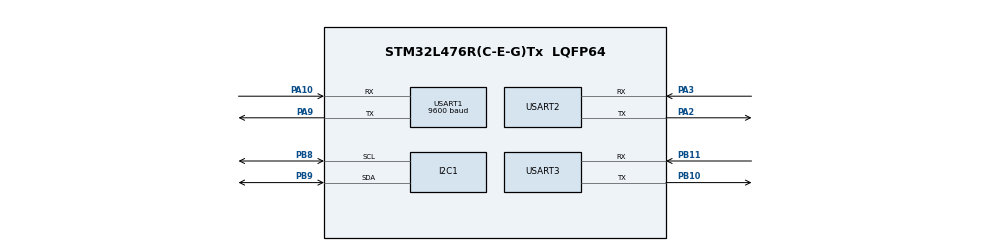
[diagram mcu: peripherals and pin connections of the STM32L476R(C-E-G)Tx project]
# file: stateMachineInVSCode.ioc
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FREERTOS.Mutexes01=uartMutex,Dynamic,NULL,Available
FREERTOS.Queues01=eventQueue,16,Event_t,0,Dynamic,NULL,NULL;transmitQueue,4,Telemetry_t*,0,Dynamic,NULL,NULL
FREERTOS.Tasks01=mainTask,24,128,StartMainTask,Default,NULL,Dynamic,NULL,NULL;housekeepTask,8,256,StartHousekeepTask,Default,NULL,Dynamic,NULL,NULL;transmitTask,8,128,StartTransmitTask,Default,NULL,Dynamic,NULL,NULL;receiveTask,8,128,StartReceiveTask,Default,NULL,Dynamic,NULL,NULL;deployTask,8,128,StartDeployTask,Default,NULL,Dynamic,NULL,NULL;detumblingTask,8,256,StartDetumblingTask,Default,NULL,Dynamic,NULL,NULL;missionTask,8,256,StartMissionTask,Default,NULL,Dynamic,NULL,NULL
FREERTOS.Timers01=HkTickTimer,vHkTickCallback,osTimerPeriodic,Default,NULL,Dynamic,NULL
FREERTOS.configTOTAL_HEAP_SIZE=8192
FREERTOS.configUSE_NEWLIB_REENTRANT=1
I2C1.Timing=0x00100D14
Mcu.Family=STM32L4
Mcu.Name=STM32L476R(C-E-G)Tx
Mcu.Package=LQFP64
NVIC.PriorityGroup=NVIC_PRIORITYGROUP_4
NVIC.TIM6_DAC_IRQn=true\:15\:0\:false\:false\:true\:false\:false\:true\:true
NVIC.TimeBase=TIM6_DAC_IRQn
NVIC.TimeBaseIP=TIM6
NVIC.USART1_IRQn=true\:5\:0\:false\:false\:true\:true\:true\:true\:true
PA10.Mode=Asynchronous
PA10.Signal=USART1_RX
PA13\ (JTMS-SWDIO).Mode=Serial_Wire
PA13\ (JTMS-SWDIO).Signal=SYS_JTMS-SWDIO
PA14\ (JTCK-SWCLK).Mode=Serial_Wire
PA14\ (JTCK-SWCLK).Signal=SYS_JTCK-SWCLK
PA2.Mode=Asynchronous
PA2.Signal=USART2_TX
PA3.Mode=Asynchronous
PA3.Signal=USART2_RX
PA9.Mode=Asynchronous
PA9.Signal=USART1_TX
PB8.Mode=I2C
PB8.Signal=I2C1_SCL
PB9.Mode=I2C
PB9.Signal=I2C1_SDA
PB10.Mode=Asynchronous
PB10.Signal=USART3_TX
PB11.Mode=Asynchronous
PB11.Signal=USART3_RX
ProjectManager.HeapSize=0x200
ProjectManager.StackSize=0x400
ProjectManager.TargetToolchain=CMake
RCC.HSE_VALUE=8000000
RCC.HSI_VALUE=16000000
RCC.LSE_VALUE=32768
RCC.MSI_VALUE=4000000
RCC.VCOOutputFreq_Value=32000000
USART1.BaudRate=9600
USART1.VirtualMode-Asynchronous=VM_ASYNC
USART2.VirtualMode-Asynchronous=VM_ASYNC
USART3.VirtualMode-Asynchronous=VM_ASYNC
VP_FREERTOS_VS_CMSIS_V2.Mode=CMSIS_V2
VP_SYS_VS_tim6.Mode=TIM6
board=custom

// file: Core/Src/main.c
/* USER CODE BEGIN Header */
/**
  ******************************************************************************
  * @file           : main.c
  * @brief          : Main program body
  ******************************************************************************
  * @attention
  *
  * Copyright (c) 2026 STMicroelectronics.
  * All rights reserved.
  *
  * This software is licensed under terms that can be found in the LICENSE file
  * in the root directory of this software component.
  * If no LICENSE file comes with this software, it is provided AS-IS.
  *
  ******************************************************************************
  */
/* USER CODE END Header */
#include "main.h"
#include "cmsis_os.h"

/* USER CODE BEGIN Includes */
#include <stdio.h>
#include <stdarg.h>
#include <stdbool.h>
#include <string.h>
#include "customTypes.h"
#include "BME280.h"
#include "DS3231.h"
#include "hermes_adsb.h"
#if MONITOR_USB
#include "monitor_usb.h"   /* bancada na PCB: functionalCodes/bancadaStateMachine/usb_monitor */
#endif
#include "payload_downlink.h"
#include "adcs_link.h"
#include "eps.h"
/* USER CODE END Includes */

/* USER CODE BEGIN PD */
#define USART1_RX_FLAG       (1U << 0)
#define USART1_ERROR_FLAG    (1U << 1)
#define USART1_ATIVIDADE_FLAG (1U << 2)   /* byte na USART1: reavalia o candidato a telecomando */
/* Telecomando do TT&C = 1 byte isolado na USART1. O TT&C (ESP32) usa a UART0 (RX0/TX0) para o OBC, e a ROM
 * do ESP32 imprime o log de boot (115200) nela a cada reset: a 9600 isso chega como uma rajada de bytes
 * aleatórios, alguns na faixa 0x00-0x0F (0x02 = Deploy). Só vira telecomando o byte com pelo menos
 * TC_SILENCIO_MS de silêncio (sem bytes nem erros) antes e depois. */
#define TC_SILENCIO_MS       30U
/* TTC_BUSY (PC0, J2-10 do barramento): o TT&C põe em alto enquanto o rádio está ocupado ou há um quadro
 * esperando o rádio. Antes de cada quadro, o OBC espera o busy baixar, por no máximo TTC_BUSY_ESPERA_MS;
 * depois disso manda assim mesmo (o TT&C guarda até 1 KB na UART). */
#define TTC_BUSY_PORT        GPIOC
#define TTC_BUSY_PIN         GPIO_PIN_0
#define TTC_BUSY_ESPERA_MS   2000U
/* Deploy das duas antenas (conector J3). CTRL_ANT_n em alto liga o MOSFET que queima o fio da antena n.
 * O fio pressiona um botão ligado ao GND (MT_n): baixo = fio inteiro; alto (pull-up interno) = fio rompeu.
 * Uma antena por vez, até o botão abrir ou DEPLOY_QUEIMA_MAX_MS. */
#define DEPLOY_QUEIMA_MAX_MS 15000U
#define DEPLOY_POLL_MS       10U
#define TASK_START_FLAG      (1U << 0)
#define TASK_STOP_FLAG       (1U << 1)

#define ENABLE_DEBUG_UART2   (!ADCS_NA_USART2)   /* na PCB a USART2 é do ADCS */
/* USER CODE END PD */

I2C_HandleTypeDef hi2c1;

UART_HandleTypeDef huart1;
UART_HandleTypeDef huart2;
UART_HandleTypeDef huart3;

/* Definitions for mainTask */
osThreadId_t mainTaskHandle;
const osThreadAttr_t mainTask_attributes = {
  .name = "mainTask",
  .stack_size = 128 * 4,
  .priority = (osPriority_t) osPriorityNormal,
};
/* Definitions for housekeepTask */
osThreadId_t housekeepTaskHandle;
const osThreadAttr_t housekeepTask_attributes = {
  .name = "housekeepTask",
  .stack_size = 256 * 4,
  .priority = (osPriority_t) osPriorityLow,
};
/* Definitions for transmitTask */
osThreadId_t transmitTaskHandle;
const osThreadAttr_t transmitTask_attributes = {
  .name = "transmitTask",
#if MONITOR_USB || ENABLE_DEBUG_UART2
  /* com debug, o debugTelemetria() formata texto (vsnprintf) nesta pilha: 512 B estourava e corrompia o TCB
   * da housekeepTask (logo abaixo na heap). No voo o debug não é compilado e a pilha fica como antes. */
  .stack_size = 256 * 4,
#else
  .stack_size = 128 * 4,
#endif
  .priority = (osPriority_t) osPriorityLow,
};
/* Definitions for receiveTask */
osThreadId_t receiveTaskHandle;
const osThreadAttr_t receiveTask_attributes = {
  .name = "receiveTask",
  .stack_size = 128 * 4,
  .priority = (osPriority_t) osPriorityLow,
};
/* Definitions for deployTask */
osThreadId_t deployTaskHandle;
const osThreadAttr_t deployTask_attributes = {
  .name = "deployTask",
#if MONITOR_USB || ENABLE_DEBUG_UART2
  .stack_size = 256 * 4,   /* debugPrintf formata texto nesta pilha (ver transmitTask) */
#else
  .stack_size = 128 * 4,
#endif
  .priority = (osPriority_t) osPriorityLow,
};
/* Definitions for detumblingTask */
osThreadId_t detumblingTaskHandle;
const osThreadAttr_t detumblingTask_attributes = {
  .name = "detumblingTask",
  .stack_size = 256 * 4,
  .priority = (osPriority_t) osPriorityLow,
};
/* Definitions for missionTask */
osThreadId_t missionTaskHandle;
const osThreadAttr_t missionTask_attributes = {
  .name = "missionTask",
  .stack_size = 256 * 4,
  .priority = (osPriority_t) osPriorityLow,
};
/* Definitions for eventQueue */
osMessageQueueId_t eventQueueHandle;
const osMessageQueueAttr_t eventQueue_attributes = {
  .name = "eventQueue"
};
/* Definitions for transmitQueue */
osMessageQueueId_t transmitQueueHandle;
const osMessageQueueAttr_t transmitQueue_attributes = {
  .name = "transmitQueue"
};
/* Definitions for HkTickTimer */
osTimerId_t HkTickTimerHandle;
const osTimerAttr_t HkTickTimer_attributes = {
  .name = "HkTickTimer"
};
/* Definitions for uartMutex */
osMutexId_t uartMutexHandle;
const osMutexAttr_t uartMutex_attributes = {
  .name = "uartMutex"
};
/* USER CODE BEGIN PV */
#if !ADCS_NA_USART2
UART_HandleTypeDef huart4;          /* bancada: ADCS na UART4 (A0/A1 do Nucleo) */
#define ADCS_HUART huart4
#else
#define ADCS_HUART huart2           /* PCB: ADCS na USART2 */
#endif
/* Flags da task Detumbling (gerente do ADCS); bits 0 e 1 = TASK_START/STOP_FLAG do detumbling */
#define ADCS_AZ_INICIA_FLAG  (1U << 2)
#define ADCS_AZ_PARA_FLAG    (1U << 3)
#define ADCS_AZ_RX_FLAG      (1U << 4)
#define ADCS_EST_RX_FLAG     (1U << 5)
static uint8_t adcsRxByte;
static AdcsAzParser adcsParser;
static volatile char adcsAzIsr[ADCS_AZ_LEN + 1];   /* último azimute completo (ISR -> task) */
static volatile AdcsEstado adcsEstIsr;              /* último estado "SDBF!" (ISR -> task) */
static char g_azimute[ADCS_AZ_LEN + 1] = "";       /* último azimute, para a telemetria */
static volatile uint32_t g_azimuteTick = 0U;
static uint8_t usart1RxBuffer;
static volatile uint32_t usart1LastError;
static volatile uint32_t usart1ErrorCount;
static volatile bool usart1RestartRequired;
static volatile bool antennaDeployed;
/* Estado do OBC para a telemetria (escrito pela task principal, lido pelo housekeeping) */
static volatile uint8_t g_modo = 0U;
static volatile uint8_t g_estado = 0U;
static volatile uint8_t g_ultimoTc = 0xFFU;
static volatile uint8_t g_resultadoTc = 0xFFU;
#define TC_RES_EXECUTADO   0U
#define TC_RES_RECUSADO    1U
#define TC_RES_IGNORADO    2U
static volatile uint32_t usart1UltimaAtividade;   /* tick do último byte/erro na USART1 */
static volatile uint8_t usart1Candidato;          /* byte isolado à espera do silêncio depois dele */
static volatile bool usart1CandidatoValido;
static volatile uint32_t usart1RajadasDescartadas;
#if TC_ON_USART2
static uint8_t usart2RxBuffer;
static volatile uint8_t pendingTelecommand;
#endif
/* USER CODE END PV */

void SystemClock_Config(void);
static void MX_GPIO_Init(void);
static void MX_USART2_UART_Init(void);
static void MX_I2C1_Init(void);
static void MX_USART1_UART_Init(void);
static void MX_USART3_UART_Init(void);
void StartMainTask(void *argument);
void StartHousekeepTask(void *argument);
void StartTransmitTask(void *argument);
void StartReceiveTask(void *argument);
void StartDeployTask(void *argument);
void StartDetumblingTask(void *argument);
void StartMissionTask(void *argument);
void vHkTickCallback(void *argument);

/* USER CODE BEGIN PFP */
static void debugPrintf(const char *format, ...);
static void adcsUartInit(void);
static void handleTelecommand(uint8_t tc, SatMode_t *mode,
		bool *deployInProgress, volatile bool *deployCompleted,
		bool *missionActive);
/* USER CODE END PFP */

/* USER CODE BEGIN 0 */
int __io_putchar(int ch) {
#if ENABLE_DEBUG_UART2
	HAL_UART_Transmit(&huart2, (uint8_t*) &ch, 1, 10);
#endif
	return ch;
}

static void debugPrintf(const char *format, ...)
{
#if MONITOR_USB
	{
		va_list a;
		va_start(a, format);
		monitor_usb_vprintf(format, a);
		va_end(a);
	}
#endif
#if ENABLE_DEBUG_UART2
	va_list args;
	va_start(args, format);
	vprintf(format, args);
	va_end(args);
#else
	(void)format;
#endif
}

/* Resumo legível do quadro 'T' no debug (o printf do newlib-nano não tem float). */
static const char *fmt2(char *b, float v)   /* "-12.34" */
{
	int32_t x = (int32_t)(v * 100.0f + (v < 0.0f ? -0.5f : 0.5f));
	uint32_t m = (uint32_t)(x < 0 ? -x : x);
	(void)snprintf(b, 12, "%s%lu.%02lu", x < 0 ? "-" : "", (unsigned long)(m / 100U), (unsigned long)(m % 100U));
	return b;
}
static void debugTelemetria(const Telemetry_t *t)
{
#if ENABLE_DEBUG_UART2 || MONITOR_USB
	/* static: só a transmitTask chama, e a pilha dela é de 512 B */
	static Telemetry_t c;
	static char v13[12], i13[12], v5[12], i5[12], tb[12], te[12], az[sizeof c.angulo_apontamento + 1];
	c = *t;   /* cópia: Telemetry_t é packed */
	memcpy(az, c.angulo_apontamento, sizeof c.angulo_apontamento);
	az[sizeof c.angulo_apontamento] = '\0';
	debugPrintf("[%08lu] tm %02u:%02u:%02u bat1=%umV/%u%% bat2=%umV/%u%% 13v8=%sV/%sA 5v=%sV/%sA "
			"chg1=%02X/%02X chg2=%02X/%02X tbat=%sC test=%sC deploy=%u az=%s\r\n",
			osKernelGetTickCount(), c.hora, c.minuto, c.segundo,
			(unsigned)c.tensao_bateria_1, (unsigned)c.carga_bateria_1, (unsigned)c.tensao_bateria_2, (unsigned)c.carga_bateria_2,
			fmt2(v13, c.tensao_13v8), fmt2(i13, c.corrente_13v8), fmt2(v5, c.tensao_5v), fmt2(i5, c.corrente_5v),
			c.status_carregador_1, c.falha_carregador_1, c.status_carregador_2, c.falha_carregador_2,
			fmt2(tb, c.temperatura_bateria), fmt2(te, c.temperatura_estrutura), c.deploy_antena, az[0] ? az : "-");
#else
	(void)t;
#endif
}

static void handleTelecommand(uint8_t tc, SatMode_t *mode,
		bool *deployInProgress, volatile bool *deployCompleted,
		bool *missionActive)
{
	g_ultimoTc = tc;
	g_resultadoTc = TC_RES_EXECUTADO;
	if ((uint8_t)(tc & ~((uint8_t)TC_VALID_MASK)) != 0U) {
		g_resultadoTc = TC_RES_RECUSADO;
		debugPrintf("[%08lu] rx rejected: invalid mask 0x%02X\r\n",
				osKernelGetTickCount(), tc);
		return;
	}

	// Bloqueia qualquer troca de modo enquanto o deploy estiver fisicamente em curso
	if (*deployInProgress) {
		g_resultadoTc = TC_RES_IGNORADO;
		debugPrintf("[%08lu] rx ignored: deploy in progress (tc=0x%02X)\r\n",
				osKernelGetTickCount(), tc);
		return;
	}

	// 1. Prioridade máxima: Deploy (bit 1 - 0x02)
	if (((tc & TC_BIT_DEPLOY) != 0U) && !(*deployCompleted)) {
		*deployInProgress = true;
		osThreadFlagsSet(deployTaskHandle, TASK_START_FLAG);
		debugPrintf("[%08lu] rx accepted: deploy\r\n",
				osKernelGetTickCount());
		return;
	}

	// 2. Detumbling (bit 2 - 0x04) - Prioridade sobre Pointing
	if ((tc & TC_BIT_DETUMBLING) != 0U) {
		if (*mode != SAT_MODE_DETUMBLING) {
			*mode = SAT_MODE_DETUMBLING;
			osThreadFlagsSet(detumblingTaskHandle, TASK_START_FLAG);
			debugPrintf("[%08lu] rx accepted: detumbling ON\r\n",
					osKernelGetTickCount());
		}
	} else if (*mode == SAT_MODE_DETUMBLING) {
		*mode = SAT_MODE_IDLE;
		osThreadFlagsSet(detumblingTaskHandle, TASK_STOP_FLAG);
		debugPrintf("[%08lu] rx accepted: detumbling STOP\r\n",
				osKernelGetTickCount());
	}

	// 3. Pointing (bit 3 - 0x08) - Só opera se Detumbling estiver inativo
	if (((tc & TC_BIT_POINTING) != 0U) && ((tc & TC_BIT_DETUMBLING) == 0U)) {
		if (*mode != SAT_MODE_POINTING) {
			*mode = SAT_MODE_POINTING;
			osThreadFlagsSet(detumblingTaskHandle, ADCS_AZ_INICIA_FLAG);   /* ADCS: comando 3 */
			debugPrintf("[%08lu] rx accepted: pointing ON\r\n",
					osKernelGetTickCount());
		}
	} else if (*mode == SAT_MODE_POINTING) {
		*mode = SAT_MODE_IDLE;
		osThreadFlagsSet(detumblingTaskHandle, ADCS_AZ_PARA_FLAG);        /* ADCS: comando 4 */
		debugPrintf("[%08lu] rx accepted: pointing STOP\r\n",
				osKernelGetTickCount());
	}

	// 4. Mission / Carga Útil (bit 0 - 0x01)
	if ((tc & TC_BIT_MISSION) != 0U) {
		if (!(*missionActive)) {
			*missionActive = true;
			if (*mode == SAT_MODE_IDLE) {
				*mode = SAT_MODE_MISSION;
			}
			osThreadFlagsSet(missionTaskHandle, TASK_START_FLAG);
			debugPrintf("[%08lu] rx accepted: mission ON\r\n",
					osKernelGetTickCount());
		}
	} else if (*missionActive) {
		*missionActive = false;
		osThreadFlagsSet(missionTaskHandle, TASK_STOP_FLAG);
		if (*mode == SAT_MODE_MISSION) {
			*mode = SAT_MODE_IDLE;
		}
		debugPrintf("[%08lu] rx accepted: mission OFF\r\n",
				osKernelGetTickCount());
	}
}
/* USER CODE END 0 */

int main(void)
{

  /* MCU Configuration--------------------------------------------------------*/

  /* Reset of all peripherals, Initializes the Flash interface and the Systick. */
  HAL_Init();

  /* Configure the system clock */
  SystemClock_Config();

  /* Initialize all configured peripherals */
  MX_GPIO_Init();
  MX_USART2_UART_Init();
  MX_I2C1_Init();
  MX_USART1_UART_Init();
  MX_USART3_UART_Init();
  /* USER CODE BEGIN 2 */
  /* Payload HERMES: recebe 20 x 204 = 4080 B a cada 5 s por DMA na USART3 (PB11). */
  HermesAdsb_Init(&huart3, NULL);
  adcsUartInit();

  /* USER CODE END 2 */

  /* Init scheduler */
  osKernelInitialize();
  /* Create the mutex(es) */
  /* creation of uartMutex */
  uartMutexHandle = osMutexNew(&uartMutex_attributes);

  /* Create the timer(s) */
  /* creation of HkTickTimer */
  HkTickTimerHandle = osTimerNew(vHkTickCallback, osTimerPeriodic, NULL, &HkTickTimer_attributes);

  /* Create the queue(s) */
  /* creation of eventQueue */
  eventQueueHandle = osMessageQueueNew (16, sizeof(Event_t), &eventQueue_attributes);

  /* creation of transmitQueue */
  transmitQueueHandle = osMessageQueueNew (4, sizeof(Telemetry_t*), &transmitQueue_attributes);

  /* Create the thread(s) */
  /* creation of mainTask */
  mainTaskHandle = osThreadNew(StartMainTask, NULL, &mainTask_attributes);

  /* creation of housekeepTask */
  housekeepTaskHandle = osThreadNew(StartHousekeepTask, NULL, &housekeepTask_attributes);

  /* creation of transmitTask */
  transmitTaskHandle = osThreadNew(StartTransmitTask, NULL, &transmitTask_attributes);

  /* creation of receiveTask */
  receiveTaskHandle = osThreadNew(StartReceiveTask, NULL, &receiveTask_attributes);

  /* creation of deployTask */
  deployTaskHandle = osThreadNew(StartDeployTask, NULL, &deployTask_attributes);

  /* creation of detumblingTask */
  detumblingTaskHandle = osThreadNew(StartDetumblingTask, NULL, &detumblingTask_attributes);

  /* creation of missionTask */
  missionTaskHandle = osThreadNew(StartMissionTask, NULL, &missionTask_attributes);

  /* Start scheduler */
  osKernelStart();

  /* We should never get here as control is now taken by the scheduler */

  /* Infinite loop */
  while (1)
  {

  }
}

void SystemClock_Config(void)
{
  RCC_OscInitTypeDef RCC_OscInitStruct = {0};
  RCC_ClkInitTypeDef RCC_ClkInitStruct = {0};

  /** Configure the main internal regulator output voltage
  */
  if (HAL_PWREx_ControlVoltageScaling(PWR_REGULATOR_VOLTAGE_SCALE1) != HAL_OK)
  {
    Error_Handler();
  }

  /** Initializes the RCC Oscillators according to the specified parameters
  * in the RCC_OscInitTypeDef structure.
  */
  RCC_OscInitStruct.OscillatorType = RCC_OSCILLATORTYPE_MSI;
  RCC_OscInitStruct.MSIState = RCC_MSI_ON;
  RCC_OscInitStruct.MSICalibrationValue = 0;
#if MONITOR_USB
  /* Bancada com USB: o OTG FS exige HCLK > 14,2 MHz (RM0351). CPU a 16 MHz e APB1/APB2 /4, então UARTs, I2C
   * e timers continuam vendo os mesmos 4 MHz do voo. */
  RCC_OscInitStruct.MSIClockRange = RCC_MSIRANGE_8;
#else
  RCC_OscInitStruct.MSIClockRange = RCC_MSIRANGE_6;
#endif
  RCC_OscInitStruct.PLL.PLLState = RCC_PLL_NONE;
  if (HAL_RCC_OscConfig(&RCC_OscInitStruct) != HAL_OK)
  {
    Error_Handler();
  }

  /** Initializes the CPU, AHB and APB buses clocks
  */
  RCC_ClkInitStruct.ClockType = RCC_CLOCKTYPE_HCLK|RCC_CLOCKTYPE_SYSCLK
                              |RCC_CLOCKTYPE_PCLK1|RCC_CLOCKTYPE_PCLK2;
  RCC_ClkInitStruct.SYSCLKSource = RCC_SYSCLKSOURCE_MSI;
  RCC_ClkInitStruct.AHBCLKDivider = RCC_SYSCLK_DIV1;
#if MONITOR_USB
  RCC_ClkInitStruct.APB1CLKDivider = RCC_HCLK_DIV4;
  RCC_ClkInitStruct.APB2CLKDivider = RCC_HCLK_DIV4;
#else
  RCC_ClkInitStruct.APB1CLKDivider = RCC_HCLK_DIV1;
  RCC_ClkInitStruct.APB2CLKDivider = RCC_HCLK_DIV1;
#endif

  if (HAL_RCC_ClockConfig(&RCC_ClkInitStruct, FLASH_LATENCY_0) != HAL_OK)
  {
    Error_Handler();
  }
}

static void MX_I2C1_Init(void)
{

  hi2c1.Instance = I2C1;
  hi2c1.Init.Timing = 0x00100D14;
  hi2c1.Init.OwnAddress1 = 0;
  hi2c1.Init.AddressingMode = I2C_ADDRESSINGMODE_7BIT;
  hi2c1.Init.DualAddressMode = I2C_DUALADDRESS_DISABLE;
  hi2c1.Init.OwnAddress2 = 0;
  hi2c1.Init.OwnAddress2Masks = I2C_OA2_NOMASK;
  hi2c1.Init.GeneralCallMode = I2C_GENERALCALL_DISABLE;
  hi2c1.Init.NoStretchMode = I2C_NOSTRETCH_DISABLE;
  if (HAL_I2C_Init(&hi2c1) != HAL_OK)
  {
    Error_Handler();
  }

  /** Configure Analogue filter
  */
  if (HAL_I2CEx_ConfigAnalogFilter(&hi2c1, I2C_ANALOGFILTER_ENABLE) != HAL_OK)
  {
    Error_Handler();
  }

  /** Configure Digital filter
  */
  if (HAL_I2CEx_ConfigDigitalFilter(&hi2c1, 0) != HAL_OK)
  {
    Error_Handler();
  }

}

static void MX_USART1_UART_Init(void)
{

  huart1.Instance = USART1;
  huart1.Init.BaudRate = 9600;
  huart1.Init.WordLength = UART_WORDLENGTH_8B;
  huart1.Init.StopBits = UART_STOPBITS_1;
  huart1.Init.Parity = UART_PARITY_NONE;
  huart1.Init.Mode = UART_MODE_TX_RX;
  huart1.Init.HwFlowCtl = UART_HWCONTROL_NONE;
  huart1.Init.OverSampling = UART_OVERSAMPLING_16;
  huart1.Init.OneBitSampling = UART_ONE_BIT_SAMPLE_DISABLE;
  huart1.AdvancedInit.AdvFeatureInit = UART_ADVFEATURE_NO_INIT;
  if (HAL_UART_Init(&huart1) != HAL_OK)
  {
    Error_Handler();
  }

}

static void MX_USART2_UART_Init(void)
{

  huart2.Instance = USART2;
  huart2.Init.BaudRate = 115200;
  huart2.Init.WordLength = UART_WORDLENGTH_8B;
  huart2.Init.StopBits = UART_STOPBITS_1;
  huart2.Init.Parity = UART_PARITY_NONE;
  huart2.Init.Mode = UART_MODE_TX_RX;
  huart2.Init.HwFlowCtl = UART_HWCONTROL_NONE;
  huart2.Init.OverSampling = UART_OVERSAMPLING_16;
  huart2.Init.OneBitSampling = UART_ONE_BIT_SAMPLE_DISABLE;
  huart2.AdvancedInit.AdvFeatureInit = UART_ADVFEATURE_NO_INIT;
  if (HAL_UART_Init(&huart2) != HAL_OK)
  {
    Error_Handler();
  }
  /* USER CODE BEGIN USART2_Init 2 */
#if ADCS_NA_USART2
  /* PCB: a USART2 é do ADCS (SoftwareSerial do Nano, 9600). O CubeMX gera 115200 (debug do Nucleo). */
  huart2.Init.BaudRate = ADCS_BAUD;
  if (HAL_UART_Init(&huart2) != HAL_OK)
  {
    Error_Handler();
  }
#endif

  /* USER CODE END USART2_Init 2 */

}

static void MX_USART3_UART_Init(void)
{

  huart3.Instance = USART3;
  huart3.Init.BaudRate = 115200;
  huart3.Init.WordLength = UART_WORDLENGTH_8B;
  huart3.Init.StopBits = UART_STOPBITS_1;
  huart3.Init.Parity = UART_PARITY_NONE;
  huart3.Init.Mode = UART_MODE_TX_RX;
  huart3.Init.HwFlowCtl = UART_HWCONTROL_NONE;
  huart3.Init.OverSampling = UART_OVERSAMPLING_16;
  huart3.Init.OneBitSampling = UART_ONE_BIT_SAMPLE_DISABLE;
  huart3.AdvancedInit.AdvFeatureInit = UART_ADVFEATURE_NO_INIT;
  if (HAL_UART_Init(&huart3) != HAL_OK)
  {
    Error_Handler();
  }

}

static void MX_GPIO_Init(void)
{

  /* GPIO Ports Clock Enable */
  __HAL_RCC_GPIOA_CLK_ENABLE();
  __HAL_RCC_GPIOC_CLK_ENABLE();
  __HAL_RCC_GPIOB_CLK_ENABLE();

  /* USER CODE BEGIN MX_GPIO_Init_2 */
  /* TTC_BUSY: entrada com pull-down (sem o TT&C ligado, lê "livre") */
  GPIO_InitTypeDef busy = {0};
  busy.Pin = TTC_BUSY_PIN;
  busy.Mode = GPIO_MODE_INPUT;
  busy.Pull = GPIO_PULLDOWN;
  HAL_GPIO_Init(TTC_BUSY_PORT, &busy);

  /* Deploy: CTRL_ANT_1 = PA15, CTRL_ANT_2 = PC10 (saídas, começam em baixo);
   * MT_1 = PC12, MT_2 = PC11 (entradas com pull-up: o botão fecha para o GND enquanto o fio está inteiro) */
  HAL_GPIO_WritePin(GPIOA, GPIO_PIN_15, GPIO_PIN_RESET);
  HAL_GPIO_WritePin(GPIOC, GPIO_PIN_10, GPIO_PIN_RESET);
  GPIO_InitTypeDef ctrl = {0};
  ctrl.Mode = GPIO_MODE_OUTPUT_PP;
  ctrl.Pull = GPIO_PULLDOWN;
  ctrl.Speed = GPIO_SPEED_FREQ_LOW;
  ctrl.Pin = GPIO_PIN_15;
  HAL_GPIO_Init(GPIOA, &ctrl);
  ctrl.Pin = GPIO_PIN_10;
  HAL_GPIO_Init(GPIOC, &ctrl);
  GPIO_InitTypeDef mt = {0};
  mt.Pin = GPIO_PIN_11 | GPIO_PIN_12;
  mt.Mode = GPIO_MODE_INPUT;
  mt.Pull = GPIO_PULLUP;
  HAL_GPIO_Init(GPIOC, &mt);
  /* USER CODE END MX_GPIO_Init_2 */
}

/* USER CODE BEGIN 4 */

void initializeEverything(BME280_HandleTypeDef *BMEBat) {
	/* Relógio zerado a cada boot = tempo desde que o OBC ligou. Dia/mês começam em 1 (0 não é data válida no DS3231):
	 * a telemetria mostra 01/01/00 00:00:00 no boot. */
	Set_Time(0, 0, 0, 1, 1, 1, 0);
	BME280_initDefault(BMEBat, hi2c1);
	BME280_setOversampling(BMEBat, BME280_OS_16x, PSSR); // talvez devesse ser ALL aqui ao invés de PSSR
	eps_init(&hi2c1);   /* MUX PCA9548A + MP2733/MAX17048/INA3221 (como no board_obc) */
}

void HAL_UART_RxCpltCallback(UART_HandleTypeDef *huart)
{
    if (huart->Instance == USART1)
    {
        uint32_t agora = osKernelGetTickCount();
        if ((agora - usart1UltimaAtividade) >= TC_SILENCIO_MS)
        {
            usart1Candidato = usart1RxBuffer;      /* silêncio antes: candidato a telecomando */
            usart1CandidatoValido = true;
        }
        else
        {
            if (usart1CandidatoValido) { usart1RajadasDescartadas++; }
            usart1CandidatoValido = false;         /* rajada: nenhum byte dela é telecomando */
        }
        usart1UltimaAtividade = agora;
        (void)osThreadFlagsSet(receiveTaskHandle, USART1_ATIVIDADE_FLAG);

        if (HAL_UART_Receive_IT(&huart1, &usart1RxBuffer, 1U) != HAL_OK)
        {
            usart1LastError = HAL_UART_GetError(&huart1);
            usart1ErrorCount++;
            usart1RestartRequired = true;
            (void)osThreadFlagsSet(receiveTaskHandle, USART1_ERROR_FLAG);
        }
    }
#if TC_ON_USART2
    else if (huart->Instance == USART2)
    {
        /* Same path as a USART1 telecommand. Both IRQs share priority 5,
         * so they never preempt each other on pendingTelecommand. */
        /* Monitor serial: '0'..'9', 'a'..'f', 'A'..'F' viram o telecomando 0x0..0xF; o resto (CR, LF,
         * espaço) é ignorado. Não aceita bytes crus: LF (0x0A) e CR (0x0D) seriam comandos válidos. */
        uint8_t c = usart2RxBuffer, lc = (uint8_t)(c | 0x20U);
        int16_t tc = (c >= '0' && c <= '9') ? (int16_t)(c - '0')
                   : (lc >= 'a' && lc <= 'f') ? (int16_t)(lc - 'a' + 10) : -1;
        (void)HAL_UART_Receive_IT(&huart2, &usart2RxBuffer, 1U);
        if (tc >= 0)
        {
            pendingTelecommand = (uint8_t)tc;
            (void)osThreadFlagsSet(receiveTaskHandle, USART1_RX_FLAG);
        }
    }
#endif
    else if (huart->Instance == HERMES_ADSB_UART_INSTANCE)
    {
        HermesAdsb_RxCpltCallback(huart);
    }
    else if (huart->Instance == ADCS_HUART.Instance)
    {
        char az[ADCS_AZ_LEN + 1];
        AdcsEstado est;
        AdcsMsgTipo tipo = adcs_feed(&adcsParser, adcsRxByte, az, &est);
        if (tipo == ADCS_MSG_AZIMUTE)
        {
            for (uint32_t k = 0U; k <= ADCS_AZ_LEN; k++) { adcsAzIsr[k] = az[k]; }
            (void)osThreadFlagsSet(detumblingTaskHandle, ADCS_AZ_RX_FLAG);
        }
        else if (tipo == ADCS_MSG_ESTADO)
        {
            adcsEstIsr.detumbling = est.detumbling;
            adcsEstIsr.busca = est.busca;
            adcsEstIsr.falha = est.falha;
            (void)osThreadFlagsSet(detumblingTaskHandle, ADCS_EST_RX_FLAG);
        }
        (void)HAL_UART_Receive_IT(&ADCS_HUART, &adcsRxByte, 1U);
    }
}

void HAL_UART_ErrorCallback(UART_HandleTypeDef *huart)
{
    if (huart->Instance == USART1)
    {
        usart1LastError = HAL_UART_GetError(huart);
        usart1ErrorCount++;
        usart1UltimaAtividade = osKernelGetTickCount();   /* erro de quadro = lixo na linha */
        usart1CandidatoValido = false;

        if (huart->RxState == HAL_UART_STATE_READY)
        {
            usart1RestartRequired =
                    (HAL_UART_Receive_IT(&huart1, &usart1RxBuffer, 1U)
                            != HAL_OK);
        }
        else
        {
            usart1RestartRequired = false;
        }

        (void)osThreadFlagsSet(receiveTaskHandle, USART1_ERROR_FLAG);
    }
#if TC_ON_USART2
    else if (huart->Instance == USART2)
    {
        /* Overrun aborts the reception (RxState back to READY); framing and
         * noise errors keep it running. */
        if (huart->RxState == HAL_UART_STATE_READY)
        {
            (void)HAL_UART_Receive_IT(&huart2, &usart2RxBuffer, 1U);
        }
    }
#endif
    else if (huart->Instance == HERMES_ADSB_UART_INSTANCE)
    {
        HermesAdsb_ErrorCallback(huart);
    }
    else if (huart->Instance == ADCS_HUART.Instance)
    {
        /* overrun/ruído: o HAL aborta a recepção; rearma (o parser se realinha sozinho) */
        if (huart->RxState == HAL_UART_STATE_READY)
        {
            (void)HAL_UART_Receive_IT(&ADCS_HUART, &adcsRxByte, 1U);
        }
    }
}

/* ---------------------------------------------------------------- payload ---
 * O Raspberry (HERMES Simples) é ligado e desligado por comando na própria UART
 * (USART3 TX = PB10 -> RX0, pino 10 do Pi), 4 bytes: A5 5A cmd ~cmd, com
 * cmd = 01 LIGAR e 00 DESLIGAR. Enquanto a missão estiver pedida, o LIGAR é
 * reenviado a cada 2 s: se o Pi reiniciar ou perder o comando, ele volta sozinho.
 * A confirmação são os blocos de 4080 B chegando (não há ACK). */
#define PLD_CMD_LIGAR        0x01U
#define PLD_CMD_DESLIGAR     0x00U
#define PLD_CMD_REPETE_MS    2000U    /* reenvio do LIGAR durante a missão */
#define PLD_CMD_OFF_VEZES    3U       /* DESLIGAR vai 3 vezes, 100 ms entre elas */
#define PLD_DOWNLINK_MS      5000U    /* um quadro 'P' ao TT&C a cada 5 s */
#define PLD_SEM_DADOS_MS     20000U   /* aviso: missão ligada e nenhum bloco (o dump1090 leva até 15 s) */

/* Última leitura do TCS (controle térmico das baterias, no Pi), para a telemetria.
 * Escrita pela task Mission, lida pelo housekeeping (palavras de 32 bits: atômicas no M4). */
static volatile int32_t g_tcsMinimaX100 = PLD_TCS_TEMP_INVALIDA;
static volatile uint32_t g_tcsTick = 0U;
#define TCS_VALIDADE_MS 15000U

static void payloadComando(uint8_t cmd)
{
	uint8_t q[4] = { 0xA5U, 0x5AU, cmd, (uint8_t)(cmd ^ 0xFFU) };
	(void)HAL_UART_Transmit(&huart3, q, sizeof(q), 50);
}

static volatile uint32_t ttcBusyEsgotado;   /* quadros mandados com o TT&C ainda ocupado (diagnóstico) */
static volatile uint32_t ttcZDescartados;   /* azimutes 'Z' não mandados porque o TT&C estava ocupado */

static bool ttcOcupado(void) { return HAL_GPIO_ReadPin(TTC_BUSY_PORT, TTC_BUSY_PIN) == GPIO_PIN_SET; }

/* Chamar com o uartMutex: espera o TT&C ficar livre antes de começar um quadro. */
static void ttcEsperaLivre(void)
{
	uint32_t t0 = osKernelGetTickCount();
	while (ttcOcupado()) {
		if ((osKernelGetTickCount() - t0) >= TTC_BUSY_ESPERA_MS) { ttcBusyEsgotado++; return; }
		osDelay(2);
	}
}

/* Manda o quadro 'P' ao TT&C (USART1), sob o mesmo mutex da telemetria. */
static void payloadEnviaDownlink(const uint8_t *frame, size_t len)
{
	osMutexAcquire(uartMutexHandle, osWaitForever);
	ttcEsperaLivre();
	HAL_UART_Transmit(&huart1, (uint8_t *)frame, (uint16_t)len, 2000);
#if defined(BANCADA_ESPELHO) && BANCADA_ESPELHO
	/* Bancada: espelha o quadro na USART2 (ST-Link) para o PC ver os aviões. */
	HAL_UART_Transmit(&huart2, (uint8_t *)frame, (uint16_t)len, 200);
#endif
	osMutexRelease(uartMutexHandle);
}

/* ------------------------------------------------------------------- ADCS ---
 * Comandos de 1 byte (1/2 detumbling, 3/4 azimute). O SoftwareSerial do Nano é
 * half-duplex e pode perder um byte enquanto transmite o azimute (~5 ms/s): cada
 * comando vai 2 vezes, 20 ms depois. Repetir é inofensivo (start/stop idempotentes
 * no Nano). NÃO se reenvia periodicamente: se o ADCS desligar o motor por proteção
 * (sobrevelocidade), o OBC não deve religar sozinho. */
static void adcsUartInit(void)
{
#if !ADCS_NA_USART2
	RCC_PeriphCLKInitTypeDef clk = {0};
	GPIO_InitTypeDef gpio = {0};
	clk.PeriphClockSelection = RCC_PERIPHCLK_UART4;
	clk.Uart4ClockSelection = RCC_UART4CLKSOURCE_PCLK1;
	if (HAL_RCCEx_PeriphCLKConfig(&clk) != HAL_OK) { Error_Handler(); }
	__HAL_RCC_UART4_CLK_ENABLE();
	__HAL_RCC_GPIOA_CLK_ENABLE();
	gpio.Pin = GPIO_PIN_0 | GPIO_PIN_1;            /* PA0 = UART4_TX (A0), PA1 = UART4_RX (A1) */
	gpio.Mode = GPIO_MODE_AF_PP;
	gpio.Pull = GPIO_PULLUP;
	gpio.Speed = GPIO_SPEED_FREQ_LOW;
	gpio.Alternate = GPIO_AF8_UART4;
	HAL_GPIO_Init(GPIOA, &gpio);
	huart4.Instance = UART4;
	huart4.Init.BaudRate = ADCS_BAUD;
	huart4.Init.WordLength = UART_WORDLENGTH_8B;
	huart4.Init.StopBits = UART_STOPBITS_1;
	huart4.Init.Parity = UART_PARITY_NONE;
	huart4.Init.Mode = UART_MODE_TX_RX;
	huart4.Init.HwFlowCtl = UART_HWCONTROL_NONE;
	huart4.Init.OverSampling = UART_OVERSAMPLING_16;
	huart4.Init.OneBitSampling = UART_ONE_BIT_SAMPLE_DISABLE;
	huart4.AdvancedInit.AdvFeatureInit = UART_ADVFEATURE_NO_INIT;
	if (HAL_UART_Init(&huart4) != HAL_OK) { Error_Handler(); }
	HAL_NVIC_SetPriority(UART4_IRQn, 5, 0);
	HAL_NVIC_EnableIRQ(UART4_IRQn);
#else
	HAL_NVIC_SetPriority(USART2_IRQn, 5, 0);
	HAL_NVIC_EnableIRQ(USART2_IRQn);
#endif
	adcs_az_init(&adcsParser);
	(void)HAL_UART_Receive_IT(&ADCS_HUART, &adcsRxByte, 1U);
}

/* Reset por hardware do Nano (pino RST, ativo em baixo, pull-up de 10 kΩ no próprio Nano).
 * Bancada: D7 = PA8, saída open-drain (o PA8 tolera os 5 V do pull-up). Na PCB do OBC ainda não
 * há essa linha no conector: só o reset por comando (5). */
#if defined(BANCADA_ADCS_RESET) && BANCADA_ADCS_RESET
#define ADCS_RST_PORT GPIOA
#define ADCS_RST_PIN  GPIO_PIN_8
#endif

static void adcsResetInit(void)
{
#ifdef ADCS_RST_PIN
	GPIO_InitTypeDef g = {0};
	__HAL_RCC_GPIOA_CLK_ENABLE();
	HAL_GPIO_WritePin(ADCS_RST_PORT, ADCS_RST_PIN, GPIO_PIN_SET);   /* solto */
	g.Pin = ADCS_RST_PIN;
	g.Mode = GPIO_MODE_OUTPUT_OD;
	g.Pull = GPIO_NOPULL;
	g.Speed = GPIO_SPEED_FREQ_LOW;
	HAL_GPIO_Init(ADCS_RST_PORT, &g);
#endif
}

static int adcsResetHardware(void)
{
#ifdef ADCS_RST_PIN
	HAL_GPIO_WritePin(ADCS_RST_PORT, ADCS_RST_PIN, GPIO_PIN_RESET);
	osDelay(pdMS_TO_TICKS(50U));
	HAL_GPIO_WritePin(ADCS_RST_PORT, ADCS_RST_PIN, GPIO_PIN_SET);
	return 1;
#else
	return 0;
#endif
}

static void adcsComando(uint8_t cmd)
{
	(void)HAL_UART_Transmit(&ADCS_HUART, &cmd, 1U, 20);
	osDelay(pdMS_TO_TICKS(20U));
	(void)HAL_UART_Transmit(&ADCS_HUART, &cmd, 1U, 20);
}
/* USER CODE END 4 */

void StartMainTask(void *argument)
{
  /* USER CODE BEGIN 5 */
	Event_t evt;
	SatMode_t mode = SAT_MODE_IDLE;
	bool deployInProgress = false;
	bool missionActive = false;

#if MONITOR_USB
	/* bancada na PCB: porta COM virtual na USB do STM32 (espera até 15 s o terminal abrir) */
	if (monitor_usb_init()) {
		debugPrintf("[%08lu] monitor USB: digite o telecomando em hexa (0-f) nesta porta\r\n", osKernelGetTickCount());
	}
#endif
	osTimerStart(HkTickTimerHandle, pdMS_TO_TICKS(HK_PERIODO_MS));
	/* primeira telemetria logo no boot (sem esperar 60 s): mostra ao solo que o OBC está vivo */
	osThreadFlagsSet(housekeepTaskHandle, TASK_START_FLAG);
	debugPrintf("[%08lu] main ready, mode=%u heap_livre=%u\r\n",
			osKernelGetTickCount(), (unsigned int)mode, (unsigned int)xPortGetFreeHeapSize());

	/* Infinite loop */
	for(;;)
	{
		if (osMessageQueueGet(eventQueueHandle, &evt, NULL,
				osWaitForever) != osOK) {
			continue;
		}

		switch (evt.type) {
		case EVT_HK_DONE: {
			Telemetry_t *packet = evt.data.telemetry;

			if (osMessageQueuePut(transmitQueueHandle, &packet, 0U,
					osWaitForever) != osOK) {
				debugPrintf("[%08lu] tx queue error\r\n",
						osKernelGetTickCount());
			}
			break;
		}

		case EVT_RX_DONE:
			handleTelecommand(evt.data.telecommand, &mode,
					&deployInProgress, &antennaDeployed, &missionActive);
			break;

		case EVT_TX_DONE:
			debugPrintf("[%08lu] tx done\r\n", evt.timestamp);
			break;

		case EVT_MISSION_DONE:
			missionActive = false;
			if (mode == SAT_MODE_MISSION) {
				mode = SAT_MODE_IDLE;
				debugPrintf("[%08lu] mission done, mode=%u\r\n",
						evt.timestamp, (unsigned int)mode);
			}
			break;

		case EVT_DETUMBLING_DONE:
			if (mode == SAT_MODE_DETUMBLING) {
				mode = SAT_MODE_IDLE;
				debugPrintf("[%08lu] detumbling done, mode=%u\r\n",
						evt.timestamp, (unsigned int)mode);
			}
			break;

		case EVT_DEPLOY_DONE:
			if (deployInProgress) {
				/* data.telecommand: bit 0 = antena 1 aberta, bit 1 = antena 2 aberta. Só conta como feito com
				 * as duas; senão um novo TC de deploy tenta de novo (as que já abriram são puladas). */
				deployInProgress = false;
				antennaDeployed = (evt.data.telecommand == 0x03U);
				debugPrintf("[%08lu] deploy done: ant1=%u ant2=%u\r\n", evt.timestamp,
						(unsigned int)(evt.data.telecommand & 1U), (unsigned int)((evt.data.telecommand >> 1) & 1U));
			}
			break;

		case EVT_POINTING_DONE:
			if (mode == SAT_MODE_POINTING) {
				mode = SAT_MODE_IDLE;
				debugPrintf("[%08lu] pointing done, mode=%u\r\n",
						evt.timestamp, (unsigned int)mode);
			}
			break;

		default:
			debugPrintf("[%08lu] unknown event=%u\r\n",
					evt.timestamp, (unsigned int)evt.type);
			break;
		}

		/* estado para a telemetria */
		g_modo = (uint8_t)mode;
		g_estado = (uint8_t)((missionActive ? 0x01U : 0U) | (deployInProgress ? 0x02U : 0U)
				| (antennaDeployed ? 0x04U : 0U));
		/* Depois de um telecomando (ou do fim do deploy), manda uma telemetria já, sem esperar o
		 * HkTickTimer: o solo vê o modo novo em segundos, não em até 1 min. */
		if (evt.type == EVT_RX_DONE || evt.type == EVT_DEPLOY_DONE) {
			osThreadFlagsSet(housekeepTaskHandle, TASK_START_FLAG);
		}
	}
  /* USER CODE END 5 */
}

void StartHousekeepTask(void *argument)
{
  /* USER CODE BEGIN StartHousekeepTask */
	static Telemetry_t telemetryPacket = {0};
	static BME280_HandleTypeDef BMEBat;
#if MONITOR_USB
	monitor_usb_espera();
#endif
	initializeEverything(&BMEBat);
	/* o que respondeu no I2C da EPS (bits de eps.h), depois do eps_init() */
	{
		uint8_t e = eps_presentes();
		debugPrintf("[%08lu] eps presentes=0x%02X mux=%u mp1=%u mp2=%u max1=%u max2=%u ina1=%u ina2=%u\r\n",
				osKernelGetTickCount(), e, !!(e & EPS_TEM_MUX), !!(e & EPS_TEM_MP1), !!(e & EPS_TEM_MP2),
				!!(e & EPS_TEM_MAX1), !!(e & EPS_TEM_MAX2), !!(e & EPS_TEM_INA1), !!(e & EPS_TEM_INA2));
	}
  /* Infinite loop */
  for(;;)
  {
	  /* Acorda a cada EPS_KEEPALIVE_MS para reaplicar os limites dos carregadores (watchdog do MP2733);
	   * a leitura completa continua a cada 60 s (HkTickTimer) ou no boot. */
	  uint32_t hkFlags = osThreadFlagsWait(TASK_START_FLAG, osFlagsWaitAny, pdMS_TO_TICKS(EPS_KEEPALIVE_MS));
	  if (hkFlags == (uint32_t)osFlagsErrorTimeout) {
		  eps_keepalive();
		  continue;
	  }
	  if (hkFlags & 0x80000000U) {   /* outro erro de osThreadFlagsWait */
		  continue;
	  }
	  BME280_readSingleShot(&BMEBat);

	  telemetryPacket.temperatura_estrutura = BMEBat.READ.TEMP;
	  /* Bateria: a sonda mais fria do TCS (o limite da prova é a bateria acima de 0 °C);
	   * sem TCS recente, cai no BME280 como antes. */
	  int32_t tcsMin = g_tcsMinimaX100;
	  uint32_t tcsTick = g_tcsTick;
	  if (tcsTick != 0U && tcsMin != PLD_TCS_TEMP_INVALIDA
			  && (osKernelGetTickCount() - tcsTick) < TCS_VALIDADE_MS) {
		  telemetryPacket.temperatura_bateria = (float)tcsMin / 100.0f;
	  } else {
		  telemetryPacket.temperatura_bateria = BMEBat.READ.TEMP;
	  }
	  telemetryPacket.umidade = BMEBat.READ.HMDT;
	  telemetryPacket.pressao = BMEBat.READ.PSSR;
	  /* DS3231: o 4º registro é o dia da SEMANA e o 5º o dia do MÊS (antes ia NULL no 5º: escrita no endereço 0
	   * e o dia da semana no campo dia). Sem resposta do RTC no I2C, os campos vão zerados. */
	  uint8_t diaSemana;
	  Get_Time(&telemetryPacket.segundo, &telemetryPacket.minuto, &telemetryPacket.hora, &diaSemana, &telemetryPacket.dia, &telemetryPacket.mes, &telemetryPacket.ano);
	  telemetryPacket.deploy_antena = antennaDeployed ? 1U : 0U;
	  eps_ler(&telemetryPacket);   /* tensões, correntes, carregadores e baterias */
	  /* último azimute recebido do ADCS ("270.5" + '\0'); vazio se nunca chegou */
	  memcpy(telemetryPacket.angulo_apontamento, g_azimute, sizeof(telemetryPacket.angulo_apontamento));
	  telemetryPacket.modo = g_modo;
	  telemetryPacket.estado = g_estado;
	  telemetryPacket.ultimo_tc = g_ultimoTc;
	  telemetryPacket.resultado_tc = g_resultadoTc;
	  telemetryPacket.seq_t++;

	  Event_t evt = {
		  .type = EVT_HK_DONE,
		  .timestamp = osKernelGetTickCount(),
		  .data.telemetry = &telemetryPacket
	  };
	  osMessageQueuePut(eventQueueHandle, &evt, 0U, osWaitForever);
  }
  /* USER CODE END StartHousekeepTask */
}

void StartTransmitTask(void *argument)
{
  /* USER CODE BEGIN StartTransmitTask */
	Telemetry_t* telemetryPacket;
  /* Infinite loop */
  for(;;)
  {
	  osMessageQueueGet(transmitQueueHandle, &telemetryPacket, NULL, osWaitForever);

	  osMutexAcquire(uartMutexHandle, osWaitForever);
	  ttcEsperaLivre();
	  uint8_t marker = 'T';
	  HAL_UART_Transmit(&huart1, &marker, 1, 100);
	  HAL_UART_Transmit(&huart1, (uint8_t*) telemetryPacket, sizeof(Telemetry_t), 1000);
	  osMutexRelease(uartMutexHandle);
	  debugTelemetria(telemetryPacket);

	  Event_t evt = {
		  .type = EVT_TX_DONE,
		  .timestamp = osKernelGetTickCount()
	  };
	  osMessageQueuePut(eventQueueHandle, &evt, 0U, osWaitForever);
  }
  /* USER CODE END StartTransmitTask */
}

void StartReceiveTask(void *argument)
{
  /* USER CODE BEGIN StartReceiveTask */
    uint32_t flags;

    if (HAL_UART_Receive_IT(&huart1, &usart1RxBuffer, 1U) != HAL_OK)
    {
        Error_Handler();
    }

#if TC_ON_USART2
    __HAL_UART_CLEAR_FLAG(&huart2, UART_CLEAR_PEF | UART_CLEAR_FEF
            | UART_CLEAR_NEF | UART_CLEAR_OREF);
    __HAL_UART_SEND_REQ(&huart2, UART_RXDATA_FLUSH_REQUEST);

    if (HAL_UART_Receive_IT(&huart2, &usart2RxBuffer, 1U) != HAL_OK)
    {
        Error_Handler();
    }

    debugPrintf("[%08lu] monitor: digite o telecomando em hexa (0-f) nesta porta\r\n",
            osKernelGetTickCount());
#endif

    for (;;)
    {
        uint32_t espera = osWaitForever;
        if (usart1CandidatoValido)
        {
            uint32_t passou = osKernelGetTickCount() - usart1UltimaAtividade;
            espera = (passou >= TC_SILENCIO_MS) ? 0U : (TC_SILENCIO_MS - passou);
        }
        flags = (espera == 0U) ? 0U
                : osThreadFlagsWait(USART1_RX_FLAG | USART1_ERROR_FLAG | USART1_ATIVIDADE_FLAG,
                        osFlagsWaitAny, espera);

        /* Candidato com TC_SILENCIO_MS de silêncio depois dele: entrega como telecomando. */
        if (usart1CandidatoValido
                && (osKernelGetTickCount() - usart1UltimaAtividade) >= TC_SILENCIO_MS)
        {
            Event_t evt = { .type = EVT_RX_DONE, .timestamp = osKernelGetTickCount() };
            bool entregar = false;
            __disable_irq();   /* reconfere aqui: um byte pode ter chegado depois do teste acima */
            if (usart1CandidatoValido
                    && (osKernelGetTickCount() - usart1UltimaAtividade) >= TC_SILENCIO_MS)
            {
                evt.data.telecommand = usart1Candidato;
                usart1CandidatoValido = false;
                entregar = true;
            }
            __enable_irq();
            if (entregar)
            {
                (void)osMessageQueuePut(eventQueueHandle, &evt, 0U, osWaitForever);
            }
        }

        if (flags == 0U || (flags & osFlagsError) != 0U)
        {
            continue;
        }

        if ((flags & USART1_ERROR_FLAG) != 0U)
        {
            if (usart1RestartRequired
                    && (huart1.RxState == HAL_UART_STATE_READY))
            {
                usart1RestartRequired =
                        (HAL_UART_Receive_IT(&huart1, &usart1RxBuffer, 1U)
                                != HAL_OK);
            }

            debugPrintf("[%08lu] usart1 error=0x%08lX count=%lu restart=%u\r\n",
                    osKernelGetTickCount(), usart1LastError,
                    usart1ErrorCount, (unsigned int)usart1RestartRequired);
        }

        #if TC_ON_USART2
          if ((flags & USART1_RX_FLAG) != 0U)
          {
              Event_t evt = {
                  .type = EVT_RX_DONE,
                  .timestamp = osKernelGetTickCount(),
                  .data.telecommand = pendingTelecommand
              };

              osMessageQueuePut(eventQueueHandle, &evt, 0U, osWaitForever);
          }
        #endif
    }
  /* USER CODE END StartReceiveTask */
}

void StartDeployTask(void *argument)
{
  /* USER CODE BEGIN StartDeployTask */
  for(;;)
  {
	  static const struct { GPIO_TypeDef *cp; uint16_t cpin; GPIO_TypeDef *mp; uint16_t mpin; } ant[2] = {
		  { GPIOA, GPIO_PIN_15, GPIOC, GPIO_PIN_12 },   /* antena 1: CTRL_ANT_1 / MT_1 */
		  { GPIOC, GPIO_PIN_10, GPIOC, GPIO_PIN_11 },   /* antena 2: CTRL_ANT_2 / MT_2 */
	  };
	  osThreadFlagsWait(TASK_START_FLAG, osFlagsWaitAny, osWaitForever);
	  uint8_t abertas = 0U;
	  for (uint32_t i = 0U; i < 2U; i++) {
		  if (HAL_GPIO_ReadPin(ant[i].mp, ant[i].mpin) == GPIO_PIN_SET) {
			  abertas |= (uint8_t)(1U << i);
			  debugPrintf("[%08lu] deploy antena %lu: ja aberta, nao queima\r\n", osKernelGetTickCount(), i + 1U);
			  continue;
		  }
		  uint32_t t0 = osKernelGetTickCount();
		  HAL_GPIO_WritePin(ant[i].cp, ant[i].cpin, GPIO_PIN_SET);
		  while (HAL_GPIO_ReadPin(ant[i].mp, ant[i].mpin) == GPIO_PIN_RESET
				  && (osKernelGetTickCount() - t0) < DEPLOY_QUEIMA_MAX_MS) {
			  osDelay(DEPLOY_POLL_MS);
		  }
		  HAL_GPIO_WritePin(ant[i].cp, ant[i].cpin, GPIO_PIN_RESET);
		  uint32_t ms = osKernelGetTickCount() - t0;
		  if (HAL_GPIO_ReadPin(ant[i].mp, ant[i].mpin) == GPIO_PIN_SET) {
			  abertas |= (uint8_t)(1U << i);
			  debugPrintf("[%08lu] deploy antena %lu: aberta em %lu ms\r\n", osKernelGetTickCount(), i + 1U, ms);
		  } else {
			  debugPrintf("[%08lu] deploy antena %lu: FALHOU (botao ainda fechado apos %lu ms)\r\n",
					  osKernelGetTickCount(), i + 1U, ms);
		  }
	  }
	  Event_t evt = {
		  .type = EVT_DEPLOY_DONE,
		  .timestamp = osKernelGetTickCount(),
		  .data.telecommand = abertas
	  };
	  osMessageQueuePut(eventQueueHandle, &evt, 0U, osWaitForever);
  }
  /* USER CODE END StartDeployTask */
}

void StartDetumblingTask(void *argument)
{
  /* USER CODE BEGIN StartDetumblingTask */
	/* Gerente do ADCS. O detumbling só termina por comando (o ADCS não avisa o fim): o modo
	 * fica em DETUMBLING até o TT&C tirar o bit. O azimute chega 1x/s durante a busca. */
	/* Supervisão: o ADCS responde "SDBF!" depois de cada comando e a cada 2 s. Cada vez que o estado
	 * não chega a tempo, ou não bate com o pedido sem uma falha declarada, o OBC reenvia o comando e
	 * conta 1 falha. Com ADCS_FALHAS_MAX seguidas, reinicia o ADCS (comando 5 + pulso no RST, se
	 * houver), espera ele subir e reenvia o pedido. Se o PRÓPRIO ADCS desligou o motor por proteção
	 * (falha 1-3), o OBC NÃO religa: só reporta; o solo decide (tirar e pôr o bit Detumbling). */
#define ADCS_FALHAS_MAX        5U
#define ADCS_ESTADO_TIMEOUT_MS 5000U    /* heartbeat de 2 s + folga */
#define ADCS_CONFIRMA_MS       1500U    /* prazo para o estado depois de um comando */
#define ADCS_BOOT_MS           5000U    /* bootloader + calibração do giroscópio */
#define ADCS_REINICIO_MIN_MS   60000U   /* no máximo 1 reinício por minuto */
	static uint8_t quadroZ[1U + ADCS_AZ_LEN];
	bool querDet = false, querBusca = false, bloqueadoPorFalha = false;
	AdcsEstado est = {0, 0, 0};
	bool temEstado = false;
	uint32_t ultimoEstado = osKernelGetTickCount(), prazoConfirma = 0U, ultimaFalha = 0U;
	uint32_t ultimoReinicio = 0U, reinicios = 0U, esperaBoot = 0U;
	uint8_t falhas = 0U, falhaAnunciada = 0U;

	adcsResetInit();
	/* OBC acabou de ligar: põe o ADCS num estado conhecido, igual ao do OBC (tudo parado). */
	osDelay(pdMS_TO_TICKS(200U));
	adcsComando(ADCS_CMD_DETUMBLING_PARA);
	adcsComando(ADCS_CMD_AZIMUTE_PARA);
	prazoConfirma = osKernelGetTickCount() + ADCS_CONFIRMA_MS;
	debugPrintf("[%08lu] adcs boot do OBC: tx 2 e 4 (sincroniza)\r\n", osKernelGetTickCount());

	for (;;)
	{
		uint32_t f = osThreadFlagsWait(TASK_START_FLAG | TASK_STOP_FLAG | ADCS_AZ_INICIA_FLAG
				| ADCS_AZ_PARA_FLAG | ADCS_AZ_RX_FLAG | ADCS_EST_RX_FLAG, osFlagsWaitAny, pdMS_TO_TICKS(500U));
		uint32_t agora = osKernelGetTickCount();
		if ((f & osFlagsError) != 0U)
		{
			f = 0U;          /* timeout: só a supervisão abaixo */
		}
		if ((f & TASK_STOP_FLAG) != 0U)
		{
			querDet = false;
			bloqueadoPorFalha = false;
			adcsComando(ADCS_CMD_DETUMBLING_PARA);
			prazoConfirma = agora + ADCS_CONFIRMA_MS;
			debugPrintf("[%08lu] adcs tx 2 (encerra detumbling)\r\n", osKernelGetTickCount());
		}
		if ((f & TASK_START_FLAG) != 0U)
		{
			querDet = true;
			bloqueadoPorFalha = false;
			adcsComando(ADCS_CMD_DETUMBLING_INICIA);
			prazoConfirma = agora + ADCS_CONFIRMA_MS;
			debugPrintf("[%08lu] adcs tx 1 (inicia detumbling)\r\n", osKernelGetTickCount());
		}
		if ((f & ADCS_AZ_PARA_FLAG) != 0U)
		{
			querBusca = false;
			adcsComando(ADCS_CMD_AZIMUTE_PARA);
			prazoConfirma = agora + ADCS_CONFIRMA_MS;
			debugPrintf("[%08lu] adcs tx 4 (encerra azimute)\r\n", osKernelGetTickCount());
		}
		if ((f & ADCS_AZ_INICIA_FLAG) != 0U)
		{
			querBusca = true;
			adcsComando(ADCS_CMD_AZIMUTE_INICIA);
			prazoConfirma = agora + ADCS_CONFIRMA_MS;
			debugPrintf("[%08lu] adcs tx 3 (inicia azimute)\r\n", osKernelGetTickCount());
		}

		if ((f & ADCS_EST_RX_FLAG) != 0U)
		{
			taskENTER_CRITICAL();
			est.detumbling = adcsEstIsr.detumbling;
			est.busca = adcsEstIsr.busca;
			est.falha = adcsEstIsr.falha;
			taskEXIT_CRITICAL();
			temEstado = true;
			ultimoEstado = agora;
			debugPrintf("[%08lu] adcs est det=%u busca=%u falha=%u\r\n", agora,
					(unsigned)est.detumbling, (unsigned)est.busca, (unsigned)est.falha);
			if (est.falha != 0U && querDet && !est.detumbling)
			{
				bloqueadoPorFalha = true;       /* proteção do próprio ADCS: não religar */
				if (falhaAnunciada != est.falha)
				{
					falhaAnunciada = est.falha;
					debugPrintf("[%08lu] adcs falha %u: o ADCS desligou o motor; o OBC nao religa\r\n",
							agora, (unsigned)est.falha);
				}
			}
			bool detOk = (est.detumbling == (querDet && !bloqueadoPorFalha)) || bloqueadoPorFalha;
			bool buscaOk = (est.busca == querBusca);
			if (detOk && buscaOk)
			{
				if (falhas != 0U)
				{
					debugPrintf("[%08lu] adcs ok de novo (zera falhas)\r\n", agora);
				}
				falhas = 0U;
				prazoConfirma = 0U;
			}
			else if (esperaBoot == 0U && (int32_t)(agora - prazoConfirma) >= 0)
			{
				/* o comando não pegou (ou o ADCS reiniciou sozinho): reenvia e conta */
				falhas++;
				ultimaFalha = agora;
				debugPrintf("[%08lu] adcs divergente: pedido det=%u busca=%u, adcs det=%u busca=%u (falha %u/%u)\r\n",
						agora, (unsigned)(querDet && !bloqueadoPorFalha), (unsigned)querBusca,
						(unsigned)est.detumbling, (unsigned)est.busca, (unsigned)falhas, (unsigned)ADCS_FALHAS_MAX);
				if (!detOk) { adcsComando((querDet && !bloqueadoPorFalha) ? ADCS_CMD_DETUMBLING_INICIA : ADCS_CMD_DETUMBLING_PARA); }
				if (!buscaOk) { adcsComando(querBusca ? ADCS_CMD_AZIMUTE_INICIA : ADCS_CMD_AZIMUTE_PARA); }
				prazoConfirma = osKernelGetTickCount() + ADCS_CONFIRMA_MS;
			}
		}

		/* sem resposta: conta 1 falha a cada janela de ADCS_ESTADO_TIMEOUT_MS */
		if (esperaBoot == 0U && (agora - ultimoEstado) >= ADCS_ESTADO_TIMEOUT_MS
				&& (agora - ultimaFalha) >= ADCS_ESTADO_TIMEOUT_MS)
		{
			falhas++;
			ultimaFalha = agora;
			debugPrintf("[%08lu] adcs sem resposta ha %lu s (falha %u/%u)\r\n", agora,
					(unsigned long)((agora - ultimoEstado) / 1000U), (unsigned)falhas, (unsigned)ADCS_FALHAS_MAX);
		}

		/* 5 falhas seguidas: reinicia o ADCS e reenvia o pedido depois do boot dele */
		if (falhas >= ADCS_FALHAS_MAX && esperaBoot == 0U
				&& (ultimoReinicio == 0U || (agora - ultimoReinicio) >= ADCS_REINICIO_MIN_MS))
		{
			reinicios++;
			adcsComando(ADCS_CMD_REINICIA);
			int hw = adcsResetHardware();
			ultimoReinicio = osKernelGetTickCount();
			esperaBoot = ultimoReinicio + ADCS_BOOT_MS;
			falhas = 0U;
			bloqueadoPorFalha = false;
			falhaAnunciada = 0U;
			debugPrintf("[%08lu] adcs reinicia #%lu (%u falhas): cmd 5%s\r\n", ultimoReinicio,
					(unsigned long)reinicios, (unsigned)ADCS_FALHAS_MAX, hw ? " + pulso no RST" : "");
		}
		if (esperaBoot != 0U && (int32_t)(agora - esperaBoot) >= 0)
		{
			esperaBoot = 0U;
			ultimoEstado = agora;                 /* recomeça a contar o heartbeat */
			if (querDet) { adcsComando(ADCS_CMD_DETUMBLING_INICIA); }
			if (querBusca) { adcsComando(ADCS_CMD_AZIMUTE_INICIA); }
			prazoConfirma = osKernelGetTickCount() + ADCS_CONFIRMA_MS;
			debugPrintf("[%08lu] adcs pos-reinicio: reenvia det=%u busca=%u\r\n", agora, (unsigned)querDet, (unsigned)querBusca);
		}
		(void)temEstado;
		if ((f & ADCS_AZ_RX_FLAG) != 0U)
		{
			char az[ADCS_AZ_LEN + 1];
			taskENTER_CRITICAL();
			for (uint32_t k = 0U; k <= ADCS_AZ_LEN; k++) { az[k] = adcsAzIsr[k]; }
			taskEXIT_CRITICAL();
			memcpy(g_azimute, az, sizeof(az));
			g_azimuteTick = osKernelGetTickCount();
			/* ao TT&C na hora, num quadro 'Z' + 5 caracteres (no máximo 1 por segundo) */
			quadroZ[0] = (uint8_t)'Z';
			memcpy(&quadroZ[1], az, ADCS_AZ_LEN);
			/* o 'Z' sai da supervisão do ADCS: não espera o TT&C (o próximo azimute vem em 1 s) */
			if (ttcOcupado()) { ttcZDescartados++; }
			else { payloadEnviaDownlink(quadroZ, sizeof(quadroZ)); }
			debugPrintf("[%08lu] adcs az=%s\r\n", osKernelGetTickCount(), az);
		}
	}
  /* USER CODE END StartDetumblingTask */
}

void StartMissionTask(void *argument)
{
  /* USER CODE BEGIN StartMissionTask */
	/* Gerente do payload HERMES: liga/desliga o Pi por comando na UART, recebe os blocos de
	 * 4080 B (DMA na USART3), valida e repassa ao TT&C a cada 5 s.
	 * A missão termina quando o solo manda um TC sem o bit Mission (TASK_STOP_FLAG). */
	static Plane_t blocos[HERMES_NUM_PLANES];
	static uint8_t tcsBruto[HERMES_TCS_SIZE];
	static uint8_t quadroH[PLD_TCS_FRAME_SIZE];
	static PlaneDown_t avioes[PLD_DOWN_MAX_PLANES];
	static uint8_t quadro[PLD_DOWN_FRAME_MAX];
	static PldMsgs_t msgs;            /* mensagens ADS-B decodificadas na missão */
	float metBloco = -1.0f;           /* maior met_s do último bloco (relógio de missão do payload) */
	uint16_t seqP = 0U;
	uint32_t tcsRuins = 0U;
	size_t nAvioes = 0U;
	bool temDados = false;
	bool missao = false;
	bool avisouSemDados = false;
	uint32_t ultimoDownlink = 0U;
	uint32_t ultimoComando = 0U;
	uint32_t ultimoBloco = 0U;
	uint32_t inicioMissao = 0U;
	uint32_t resyncsVistos = 0U;
	uint32_t errosVistos = 0U;

	HermesAdsb_SetNotifyTask(osThreadGetId());

#if defined(BANCADA_MISSAO_CONTINUA) && BANCADA_MISSAO_CONTINUA
	/* Bancada: payload ligado desde o boot e o DESLIGAR do TT&C ignorado, para o SDR ouvir sem
	 * parar. Nunca usar em voo (build normal não define BANCADA_MISSAO_CONTINUA). */
	missao = true;
	inicioMissao = ultimoDownlink = ultimoComando = osKernelGetTickCount();
	payloadComando(PLD_CMD_LIGAR);
	debugPrintf("[%08lu] pld ligar (bancada: missao continua)\r\n", osKernelGetTickCount());
#endif

	for (;;)
	{
		uint32_t flags = osThreadFlagsWait(TASK_START_FLAG | TASK_STOP_FLAG | HERMES_ADSB_FLAG,
				osFlagsWaitAny, pdMS_TO_TICKS(HERMES_ADSB_TASK_POLL_MS));
		uint32_t agora = osKernelGetTickCount();

		if ((flags & osFlagsError) == 0U)
		{
			if ((flags & TASK_STOP_FLAG) != 0U)
			{
#if defined(BANCADA_MISSAO_CONTINUA) && BANCADA_MISSAO_CONTINUA
				debugPrintf("[%08lu] pld desligar ignorado (bancada: missao continua)\r\n", osKernelGetTickCount());
			}
			if (0)
			{
#endif
				missao = false;
				for (uint32_t k = 0U; k < PLD_CMD_OFF_VEZES; k++)
				{
					payloadComando(PLD_CMD_DESLIGAR);
					osDelay(pdMS_TO_TICKS(100U));
				}
				debugPrintf("[%08lu] pld desligar (UART cmd 00 x%u)\r\n", osKernelGetTickCount(),
						(unsigned int)PLD_CMD_OFF_VEZES);
			}
			if ((flags & TASK_START_FLAG) != 0U)
			{
				missao = true;
				temDados = false;
				avisouSemDados = false;
				pld_msgs_reset(&msgs);
				metBloco = -1.0f;
				inicioMissao = agora;
				ultimoDownlink = agora;
				ultimoComando = agora;
				payloadComando(PLD_CMD_LIGAR);
				debugPrintf("[%08lu] pld ligar (UART cmd 01, repete a cada %u s)\r\n", agora,
						(unsigned int)(PLD_CMD_REPETE_MS / 1000U));
			}
		}

		if (missao && (agora - ultimoComando) >= PLD_CMD_REPETE_MS)
		{
			payloadComando(PLD_CMD_LIGAR);   /* mantém a missão, como um nível */
			ultimoComando = agora;
		}

		const HermesAdsbStats_t *st = HermesAdsb_Stats();
		while (HermesAdsb_Take(blocos, tcsBruto))
		{
			ultimoBloco = agora;
			if (missao)
			{
				PldCompactStats_t cs;
				nAvioes = pld_compact(blocos, avioes, &cs);
				metBloco = cs.met_max_s;
				(void)pld_msgs_update(&msgs, blocos);
				temDados = true;
				avisouSemDados = false;
				debugPrintf("[%08lu] pld bloco %lu: %u avioes, %u vazios, %u descartados\r\n",
						osKernelGetTickCount(), (unsigned long)st->buffers,
						(unsigned int)cs.validos, (unsigned int)cs.vazios, (unsigned int)cs.descartados);
			}

			/* Trailer térmico do TCS: vai para a telemetria e, inteiro, ao TT&C (quadro 'H'). */
			PldTcs_t tcs;
			if (pld_tcs_decode(tcsBruto, &tcs))
			{
				if (tcs.valido)
				{
					g_tcsMinimaX100 = pld_tcs_minima(&tcs);
					g_tcsTick = agora;
				}
				size_t lenH = pld_build_tcs_frame(tcsBruto, quadroH, sizeof(quadroH));
				if (lenH > 0U)
				{
					payloadEnviaDownlink(quadroH, lenH);
				}
				debugPrintf("[%08lu] tcs t=%d,%d,%d,%d duty=%u,%u sit=%u,%u idade=%u valido=%u\r\n",
						osKernelGetTickCount(), (int)tcs.t_x100[0], (int)tcs.t_x100[1], (int)tcs.t_x100[2],
						(int)tcs.t_x100[3], (unsigned int)tcs.duty[0], (unsigned int)tcs.duty[1],
						(unsigned int)tcs.situacao[0], (unsigned int)tcs.situacao[1],
						(unsigned int)tcs.idade_ds, (unsigned int)tcs.valido);
			}
			else
			{
				tcsRuins++;
				debugPrintf("[%08lu] tcs trailer invalido (%lu)\r\n", osKernelGetTickCount(), (unsigned long)tcsRuins);
			}
		}

		HermesAdsb_CheckTimeout(agora);
		if (st->resyncs != resyncsVistos)
		{
			resyncsVistos = st->resyncs;
			if (missao)
			{
				debugPrintf("[%08lu] pld resync %lu (nenhum bloco em %u s)\r\n", agora,
						(unsigned long)resyncsVistos, (unsigned int)(HERMES_ADSB_TIMEOUT_MS / 1000U));
			}
		}
		if (st->dma_errors != errosVistos)
		{
			errosVistos = st->dma_errors;
			debugPrintf("[%08lu] pld erro uart %lu\r\n", agora, (unsigned long)errosVistos);
		}

		if (missao && !avisouSemDados
				&& (agora - (temDados ? ultimoBloco : inicioMissao)) >= PLD_SEM_DADOS_MS)
		{
			avisouSemDados = true;
			debugPrintf("[%08lu] pld sem dados ha %lu s\r\n", agora,
					(unsigned long)((agora - (temDados ? ultimoBloco : inicioMissao)) / 1000U));
		}

		if (missao && temDados && (agora - ultimoDownlink) >= PLD_DOWNLINK_MS)
		{
			/* instante da transmissão no relógio de missão do payload: met_s do bloco + o tempo
			 * que o OBC segurou o bloco (latência recepção -> transmissão, HLR-ADS-08) */
			PldDownHeader_t hdr = {
				.seq = seqP++,
				.tx_met_ms = (metBloco >= 0.0f)
						? (uint32_t)(metBloco * 1000.0f) + (osKernelGetTickCount() - ultimoBloco) : 0U,
				.mensagens = msgs.total,
			};
			size_t len = pld_build_frame(avioes, nAvioes, &hdr, quadro, sizeof(quadro));
			if (len > 0U)
			{
				payloadEnviaDownlink(quadro, len);
				debugPrintf("[%08lu] ttc tx P n=%u (%u B)\r\n", osKernelGetTickCount(),
						(unsigned int)nAvioes, (unsigned int)len);
			}
			ultimoDownlink = agora;
		}
	}
  /* USER CODE END StartMissionTask */
}

/* vHkTickCallback function */
void vHkTickCallback(void *argument)
{
  /* USER CODE BEGIN vHkTickCallback */
	osThreadFlagsSet(housekeepTaskHandle, TASK_START_FLAG);
  /* USER CODE END vHkTickCallback */
}

void HAL_TIM_PeriodElapsedCallback(TIM_HandleTypeDef *htim)
{
  if (htim->Instance == TIM6)
  {
    HAL_IncTick();
  }
}

void Error_Handler(void)
{
  __disable_irq();
  while (1)
  {
  }
}
